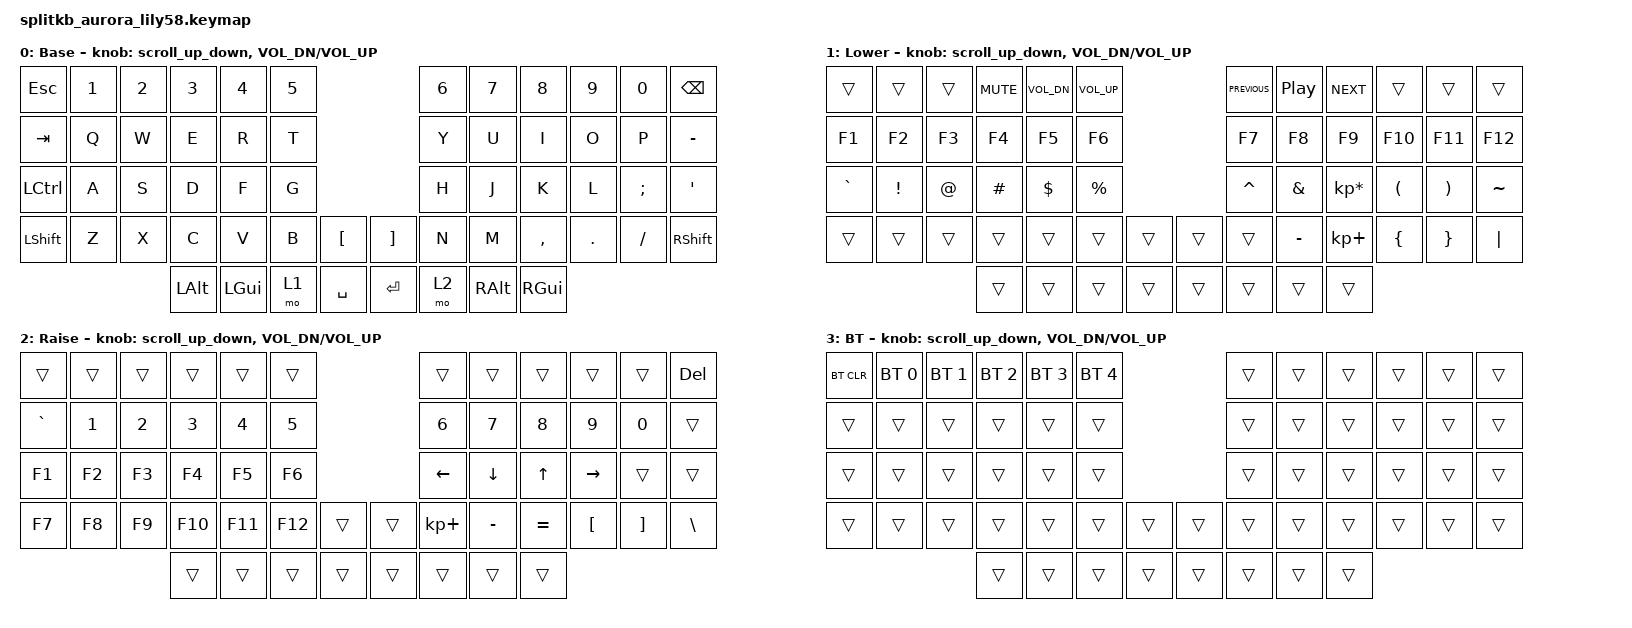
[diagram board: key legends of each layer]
/*
 * Copyright (c) 2020 The ZMK Contributors
 *
 * SPDX-License-Identifier: MIT
 */

#include <behaviors.dtsi>
#include <dt-bindings/zmk/keys.h>
#include <dt-bindings/zmk/bt.h>
#include <dt-bindings/zmk/ext_power.h>
#define ZMK_MOUSE_SCRL_VAL 140
#include <dt-bindings/zmk/pointing.h>

/ {
	conditional_layers {
		compatible = "zmk,conditional-layers";

		tri_layer {
			if-layers = <1 2>;
			then-layer = <3>;
		};
	};

	behaviors {
        scroll_up_down: scroll_up_down {
            compatible = "zmk,behavior-sensor-rotate";
            #sensor-binding-cells = <0>;
            bindings = <&msc SCRL_UP>, <&msc SCRL_DOWN>;
            tap-ms = <250>;
        };
    };

    keymap {
        compatible = "zmk,keymap";

        default_layer {
// ------------------------------------------------------------------------------------------------------------
// |  ESC  |  1  |  2  |  3   |  4   |  5   |                   |  6   |  7    |  8    |  9   |   0   |   BSPC   |
// |  TAB  |  Q  |  W  |  E   |  R   |  T   |                   |  Y   |  U    |  I    |  O   |   P   |   -   |
// |  CTRL |  A  |  S  |  D   |  F   |  G   |                   |  H   |  J    |  K    |  L   |   ;   |   '   |
// | SHIFT |  Z  |  X  |  C   |  V   |  B   |   "["  |  |  "]"  |  N   |  M    |  ,    |  .   |   /   | SHIFT |
//                     | ALT  | GUI  | LOWER|  SPACE |  | ENTER | RAISE| BSPC  | GUI   |
            display-name = "Base";
            bindings = <
&kp ESC   &kp N1 &kp N2 &kp N3   &kp N4   &kp N5                     &kp N6 &kp N7   &kp N8    &kp N9  &kp N0   &kp BSPC
&kp TAB   &kp Q  &kp W  &kp E    &kp R    &kp T                      &kp Y  &kp U    &kp I     &kp O   &kp P    &kp MINUS
&kp LCTRL &kp A  &kp S  &kp D    &kp F    &kp G                      &kp H  &kp J    &kp K     &kp L   &kp SEMI &kp SQT
&kp LSHFT &kp Z  &kp X  &kp C    &kp V    &kp B  &kp LBKT   &kp RBKT &kp N  &kp M    &kp COMMA &kp DOT &kp FSLH &kp RSHFT
                        &kp LALT &kp LGUI &mo 1  &kp SPACE  &kp RET  &mo 2  &kp RALT &kp RGUI
            >;

            sensor-bindings = <&scroll_up_down &inc_dec_kp C_VOL_DN C_VOL_UP>;
        };

        lower_layer {
// ------------------------------------------------------------------------------------------------------------
// | BTCLR | BT1 | BT2 |  BT3 |  BT4 |  BT5 |                   |      |       |       |      |       |       |
// |  F1   |  F2 |  F3 |  F4  |  F5  |  F6  |                   |  F7  |  F8   |  F9   |  F10 |  F11  |  F12  |
// |   `   |  !  |  @  |  #   |  $   |  %   |                   |  ^   |  &    |  *    |  (   |   )   |   ~   |
// |       |     |     |      |      |      |        |  |       |      |  _    |  +    |  {   |   }   |  "|"  |
//                     |      |      |      |        |  |       |      |       |       |
            display-name = "Lower";
            bindings = <
&trans     &trans           &trans            &kp C_MUTE        &kp C_VOL_DN &kp C_VOL_UP                 &kp C_PREVIOUS   &kp C_PLAY_PAUSE   &kp C_NEXT   &trans    &trans    &trans
&kp F1     &kp F2           &kp F3            &kp F4            &kp F5       &kp F6                       &kp F7    &kp F8    &kp F9          &kp F10   &kp F11   &kp F12
&kp GRAVE  &kp EXCL         &kp AT            &kp HASH          &kp DOLLAR   &kp PRCNT                    &kp CARET &kp AMPS  &kp KP_MULTIPLY &kp LPAR  &kp RPAR  &kp TILDE
&trans     &trans           &trans            &trans            &trans       &trans    &trans   &trans    &trans    &kp MINUS &kp KP_PLUS     &kp LBRC  &kp RBRC  &kp PIPE
                                              &trans            &trans       &trans    &trans   &trans    &trans    &trans    &trans
            >;

            sensor-bindings = <&scroll_up_down &inc_dec_kp C_VOL_DN C_VOL_UP>;
        };

        raise_layer {
// ------------------------------------------------------------------------------------------------------------
// |       |     |     |      |      |      |                   |      |       |       |      |       |       |
// |   `   |  1  |  2  |  3   |  4   |  5   |                   |  6   |   7   |   8   |  9   |   0   |       |
// |   F1  |  F2 |  F3 |  F4  |  F5  |  F6  |                   |      |   <-  |   v   |  ^   |  ->   |       |
// |   F7  |  F8 |  F9 |  F10 |  F11 |  F12 |        |  |       |  +   |   -   |   =   |  [   |   ]   |   \   |
//                     |      |      |      |        |  |       |      |       |       |
            display-name = "Raise";
            bindings = <
&trans    &trans &trans &trans  &trans  &trans                       &trans      &trans    &trans    &trans   &trans    &kp DEL
&kp GRAVE &kp N1 &kp N2 &kp N3  &kp N4  &kp N5                       &kp N6      &kp N7    &kp N8    &kp N9   &kp N0    &trans
&kp F1    &kp F2 &kp F3 &kp F4  &kp F5  &kp F6                       &kp LEFT    &kp DOWN  &kp UP    &kp RIGHT &trans   &trans
&kp F7    &kp F8 &kp F9 &kp F10 &kp F11 &kp F12   &trans   &trans    &kp KP_PLUS &kp MINUS &kp EQUAL &kp LBKT &kp RBKT  &kp BSLH
                        &trans  &trans  &trans    &trans   &trans    &trans      &trans    &trans
            >;

            sensor-bindings = <&scroll_up_down &inc_dec_kp C_VOL_DN C_VOL_UP>;
        };

		tri_layer {
		display-name = "BT";
		bindings = <
			
&bt BT_CLR &bt BT_SEL 0  &bt BT_SEL 1   &bt BT_SEL 2   &bt BT_SEL 3 &bt BT_SEL 4                 &trans    &trans    &trans   &trans    &trans    &trans
&trans      &trans       &trans         &trans         &trans       &trans                       &trans    &trans    &trans   &trans    &trans    &trans
&trans      &trans       &trans         &trans         &trans       &trans                       &trans    &trans    &trans   &trans    &trans    &trans
&trans      &trans       &trans         &trans         &trans       &trans                       &trans  &trans  &trans    &trans    &trans   &trans    &trans    &trans
                                                          &trans &trans  &trans  &trans  &trans  &trans    &trans    &trans
			>;

            sensor-bindings = <&scroll_up_down &inc_dec_kp C_VOL_DN C_VOL_UP>;
		};
    };
};
